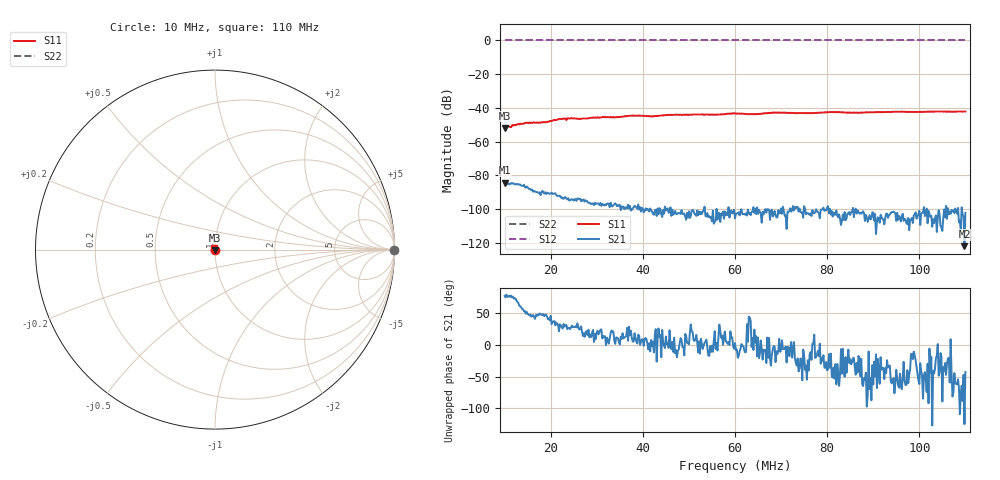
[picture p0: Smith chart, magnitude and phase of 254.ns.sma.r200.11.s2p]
! Anritsu VNA Master:  Model: MS2036C/10/77
! SN:  1601066
! /card0/usr/254.ns.sma.r200.11.s2p
! Existing Calibration Information:
! TYPE:  Current Settings,  Active Cal Settings
! TIME:  12/20/2017 01:30:07 PM,  12/20/2017 01:21:26 PM
! INTERNAL TEMP:  45.3 C,  44.5 C
! # POINTS:  501,  501
! START FREQ:  10.000 MHz,  10.000 MHz
! STOP FREQ:  110.000 MHz,  110.000 MHz
! SOURCE POWER:  High,  High
! IFBW:  100 Hz,  100 Hz
! AVG FACTOR:  1 ,  1
! REF PLANE 1:  0 mm,  0 mm
! REF PLANE 2:  0 mm,  0 mm
! CAL TYPE:  Full S11,  Full S11
! CAL METHOD:  SOLT,  SOLT
! CAL LINE TYPE:  Coax,  Coax
! DUT PORT 1:  N-Conn(F),  N-Conn(F)
! DUT PORT 2:  K-Conn(F),  K-Conn(F)
! CAL STATUS:  OK: Accuracy High,  --
# GHZ S DB R 50.0
! FREQ.GHZ  S11DB  S11A  S21DB  S21A  S12DB  S12A  S22DB  S22A
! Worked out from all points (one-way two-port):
!   501 points, 10 MHz to 110 MHz, reference 50 ohm
!   highest |S21| = -84.24 dB at 10 MHz (marker M1); lowest = -121.9 dB at 109.8 MHz (marker M2)
!   lowest |S11| = -51.8 dB at 10 MHz (marker M3), VSWR 1.01, Z = 49.9 - j0.245 ohm
!   |S11| at or under -10 dB: start of sweep to end of sweep
!   |S22| runs from 0.0 to 0.0 dB; largest |S21 - S12| = 1
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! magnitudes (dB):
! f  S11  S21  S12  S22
! 10 MHz  -51.8  -84.2  0.0  0.0
! 14.6 MHz  -48.9  -87.3  0.0  0.0
! 19 MHz  -48.4  -91.0  0.0  0.0
! 22.2 MHz  -46.6  -93.2  0.0  0.0
! 24.2 MHz  -46.2  -94.8  0.0  0.0
! 26.8 MHz  -46.3  -94.4  0.0  0.0
! 31.6 MHz  -45.4  -97.8  0.0  0.0
! 34.2 MHz  -45.5  -97.1  0.0  0.0
! 37.6 MHz  -44.6  -100.4  0.0  0.0
! 41.8 MHz  -44.9  -100.7  0.0  0.0
! 43.4 MHz  -44.6  -103.0  0.0  0.0
! 46 MHz  -44.1  -98.9  0.0  0.0
! 56 MHz  -43.9  -99.8  0.0  0.0
! 60 MHz  -43.2  -105.4  0.0  0.0
! 64 MHz  -43.8  -98.8  0.0  0.0
! 68.6 MHz  -42.8  -101.1  0.0  0.0
! 76.8 MHz  -43.1  -100.5  0.0  0.0
! 80.8 MHz  -42.5  -103.2  0.0  0.0
! 86.4 MHz  -42.8  -102.6  0.0  0.0
! 93.4 MHz  -42.4  -103.6  0.0  0.0
! 109.8 MHz  -42.1  -121.9  0.0  0.0
! 110 MHz  -42.1  -102.2  0.0  0.0
